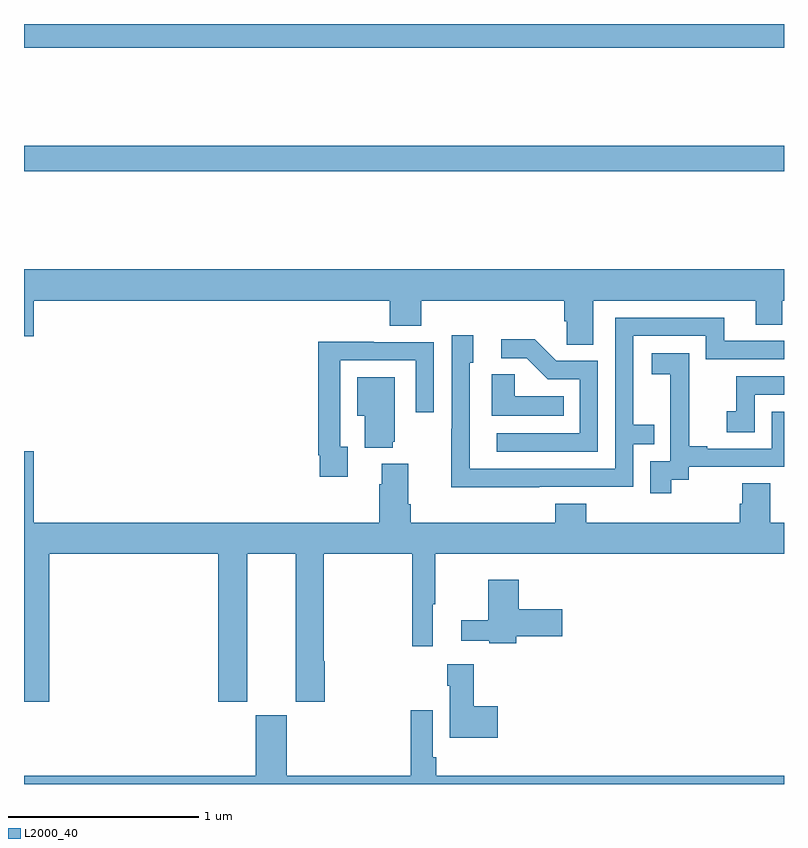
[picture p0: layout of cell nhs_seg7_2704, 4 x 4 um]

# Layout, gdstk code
import gdstk
lib = gdstk.Library(unit=1e-6, precision=1e-09)
def R(c, l, rs):  # rectangles x0, y0, x1, y1
    for r in rs: c.add(gdstk.rectangle(r[:2], r[2:], *l))
def P(c, l, *ps):  # polygons
    for p in ps: c.add(gdstk.Polygon(p, *l))
L2000_40 = (2000, 40)

nhs_seg7_2704 = lib.new_cell('nhs_seg7_2704')
R(nhs_seg7_2704, L2000_40, [(285,1073.224,289,1073.36), (285,1073.876,289,1074)])
P(nhs_seg7_2704, L2000_40, [(287.995,1072.544),(288.851,1072.544),(288.851,1072.417),(288.99,1072.417),(288.99,1072.544),(289,1072.544),(289,1072.708),(285,1072.708),(285,1072.356),(285.052,1072.356),(285.052,1072.544),(286.925,1072.544),(286.925,1072.411),(287.09,1072.411),(287.09,1072.544),(287.843,1072.544),(287.843,1072.435),(287.856,1072.435),(287.856,1072.312),(287.995,1072.312)],
  [(287.711,1071.564),(288.207,1071.564),(288.207,1071.789),(288.317,1071.789),(288.317,1071.89),(288.207,1071.89),(288.207,1072.359),(288.588,1072.359),(288.588,1072.236),(289,1072.236),(289,1072.332),(288.685,1072.332),(288.685,1072.455),(288.111,1072.455),(288.111,1071.66),(287.346,1071.66),(287.346,1072.218),(287.365,1072.218),(287.365,1072.363),(287.25,1072.363),(287.25,1071.869),(287.248,1071.869),(287.248,1071.563),(287.711,1071.563)],
  [(288.021,1072.227),(287.802,1072.227),(287.689,1072.34),(287.511,1072.34),(287.511,1072.242),(287.645,1072.242),(287.756,1072.131),(287.925,1072.131),(287.925,1071.846),(287.487,1071.846),(287.487,1071.75),(288.021,1071.75)],
  [(286.705,1071.774),(286.665,1071.774),(286.665,1072.23),(287.061,1072.23),(287.061,1071.957),(287.157,1071.957),(287.157,1072.326),(286.841,1072.326),(286.841,1072.328),(286.549,1072.328),(286.549,1071.73),(286.557,1071.73),(286.557,1071.618),(286.705,1071.618)],
  [(288.406,1071.601),(288.498,1071.601),(288.498,1071.669),(289,1071.669),(289,1071.96),(288.936,1071.96),(288.936,1071.765),(288.595,1071.765),(288.595,1071.778),(288.5,1071.778),(288.5,1072.061),(288.501,1072.061),(288.501,1072.267),(288.303,1072.267),(288.303,1072.157),(288.401,1072.157),(288.401,1071.929),(288.402,1071.929),(288.402,1071.699),(288.297,1071.699),(288.297,1071.531),(288.406,1071.531)],
  [(287.84,1072.042),(287.583,1072.042),(287.583,1072.157),(287.462,1072.157),(287.462,1071.938),(287.84,1071.938)],
  [(288.846,1072.05),(289,1072.05),(289,1072.146),(288.748,1072.146),(288.748,1071.961),(288.699,1071.961),(288.699,1071.852),(288.846,1071.852)],
  [(286.94,1071.801),(286.951,1071.801),(286.951,1072.141),(286.754,1072.141),(286.754,1071.938),(286.793,1071.938),(286.793,1071.77),(286.94,1071.77)],
  [(285.134,1071.212),(286.022,1071.212),(286.022,1070.433),(286.174,1070.433),(286.174,1071.212),(286.43,1071.212),(286.43,1070.433),(286.583,1070.433),(286.583,1070.645),(286.578,1070.645),(286.578,1071.212),(287.043,1071.212),(287.043,1070.724),(287.152,1070.724),(287.152,1070.947),(287.164,1070.947),(287.164,1071.212),(289,1071.212),(289,1071.376),(288.927,1071.376),(288.927,1071.584),(288.779,1071.584),(288.779,1071.474),(288.767,1071.474),(288.767,1071.376),(287.96,1071.376),(287.96,1071.475),(287.795,1071.475),(287.795,1071.376),(287.036,1071.376),(287.036,1071.472),(287.023,1071.472),(287.023,1071.685),(286.883,1071.685),(286.883,1071.578),(286.871,1071.578),(286.871,1071.376),(285.052,1071.376),(285.052,1071.751),(285,1071.751),(285,1070.433),(285.134,1070.433)],
  [(287.59,1070.777),(287.833,1070.777),(287.833,1070.919),(287.603,1070.919),(287.603,1071.076),(287.444,1071.076),(287.444,1070.863),(287.301,1070.863),(287.301,1070.754),(287.448,1070.754),(287.448,1070.742),(287.59,1070.742)],
  [(287.494,1070.41),(287.366,1070.41),(287.366,1070.629),(287.228,1070.629),(287.228,1070.516),(287.24,1070.516),(287.24,1070.243),(287.494,1070.243)],
  [(289,1070.044),(287.171,1070.044),(287.171,1070.14),(287.151,1070.14),(287.151,1070.389),(287.035,1070.389),(287.035,1070.044),(286.384,1070.044),(286.384,1070.361),(286.22,1070.361),(286.22,1070.044),(285,1070.044),(285,1070),(289,1070)])

lib.write_gds('nhs_seg7_2704.gds')
